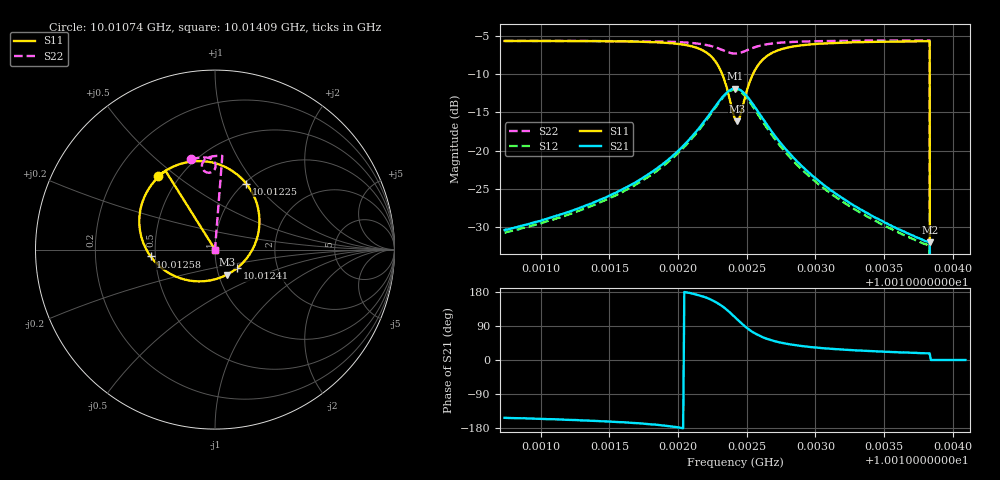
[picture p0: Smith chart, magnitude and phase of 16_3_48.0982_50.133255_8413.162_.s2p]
#  HZ  S  RI  R  50.00
! Rohde & Schwarz Vector Network Analyzer
! Rohde-Schwarz,ZNB20-2Port,1311601062101988,3.16
! Created: UTC 12/23/2023, 3:36:12 AM
! freq[Hz]  re:S11  im:S11  re:S21  im:S21  re:S12  im:S12  re:S22  im:S22
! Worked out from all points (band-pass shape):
!   401 points, 10.01074 GHz to 10.01409 GHz, reference 50 ohm
!   highest |S21| = -11.90 dB at 10.01241 GHz (marker M1); lowest = -32.0 dB at 10.01383 GHz (marker M2)
!   |S21| within 3 dB of the highest: 10.01224 GHz to 10.01258 GHz (337.1 kHz wide, 0.00337 % of centre)
!   lowest |S11| = -16.2 dB at 10.01243 GHz (marker M3), VSWR 1.37, Z = 55 - j15.7 ohm
!   |S11| at or under -10 dB: 10.01232 GHz to 10.01255 GHz (224.9 kHz wide, 0.00225 % of centre); 10.01383 GHz to end of sweep
!   |S22| runs from - to -5.6 dB; largest |S21 - S12| = 0.012
!   S11 on the Smith chart (normalised r, x): 10.01074 GHz: 0.38, +0.43; 10.01225 GHz: 1.02, +0.90; 10.01241 GHz: 1.25, -0.26; 10.01258 GHz: 0.47, -0.04; 10.01409 GHz: 1.00, +0.00
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1.0010736e10  -0.3178 0.4103  -0.0269 -0.014  -0.025 -0.0149  -0.1344 0.5022
1.0011299e10  -0.2595 0.4488  -0.0401 -0.0152  -0.0375 -0.0167  -0.0951 0.5109
1.0011592e10  -0.2107 0.4711  -0.0536 -0.0152  -0.0507 -0.0172  -0.0722 0.5135
1.0011861e10  -0.1344 0.4903  -0.0774 -0.0115  -0.0739 -0.0153  -0.0474 0.513
1.0012112e10  0.0202 0.4754  -0.1264 0.0119  -0.1231 0.00448  -0.0168 0.5023
1.0012246e10  0.174 0.3676  -0.168 0.068  -0.1679 0.0567  0.00119 0.4795
1.0012339e10  0.2475 0.1424  -0.1702 0.1571  -0.1744 0.1476  -0.00189 0.4473
1.0012372e10  0.2223 0.029  -0.1483 0.1966  -0.1526 0.1891  -0.0123 0.4357
1.0012414e10  0.1245 -0.102  -0.0984 0.2344  -0.1031 0.2275  -0.032 0.4283
1.0012431e10  0.0683 -0.1389  -0.0742 0.2422  -0.0789 0.2353  -0.0403 0.4288
1.001249e10  -0.1483 -0.1715  0.0085 0.2326  0.00325 0.2254  -0.0645 0.4426
1.0012532e10  -0.2696 -0.1229  0.049 0.2028  0.0424 0.1962  -0.0721 0.4579
1.0012582e10  -0.3587 -0.0379  0.0729 0.1639  0.0656 0.1588  -0.0725 0.4744
1.0012649e10  -0.4095 0.0682  0.0825 0.1206  0.0751 0.1175  -0.0663 0.4901
1.001275e10  -0.4211 0.1812  0.0774 0.0795  0.0708 0.0783  -0.0537 0.504
1.0012976e10  -0.3861 0.3087  0.0572 0.038  0.0528 0.0387  -0.0282 0.5163
1.0013236e10  -0.3441 0.3735  0.0414 0.0208  0.0384 0.0218  -0.00441 0.5207
1.0013538e10  -0.3058 0.4135  0.0305 0.012  0.0284 0.0129  0.0193 0.5219
1.0013815e10  -0.2769 0.4371  0.0243 0.00779  0.0225 0.00851  0.0396 0.5217
1.0013832e10  -0.2753 0.4382  0.024 0.00755  0.0223 0.00832  0.0408 0.5217
1.0013857e10  0 0  0 0  0 0  0 0
1.0014092e10  0 0  0 0  0 0  0 0
